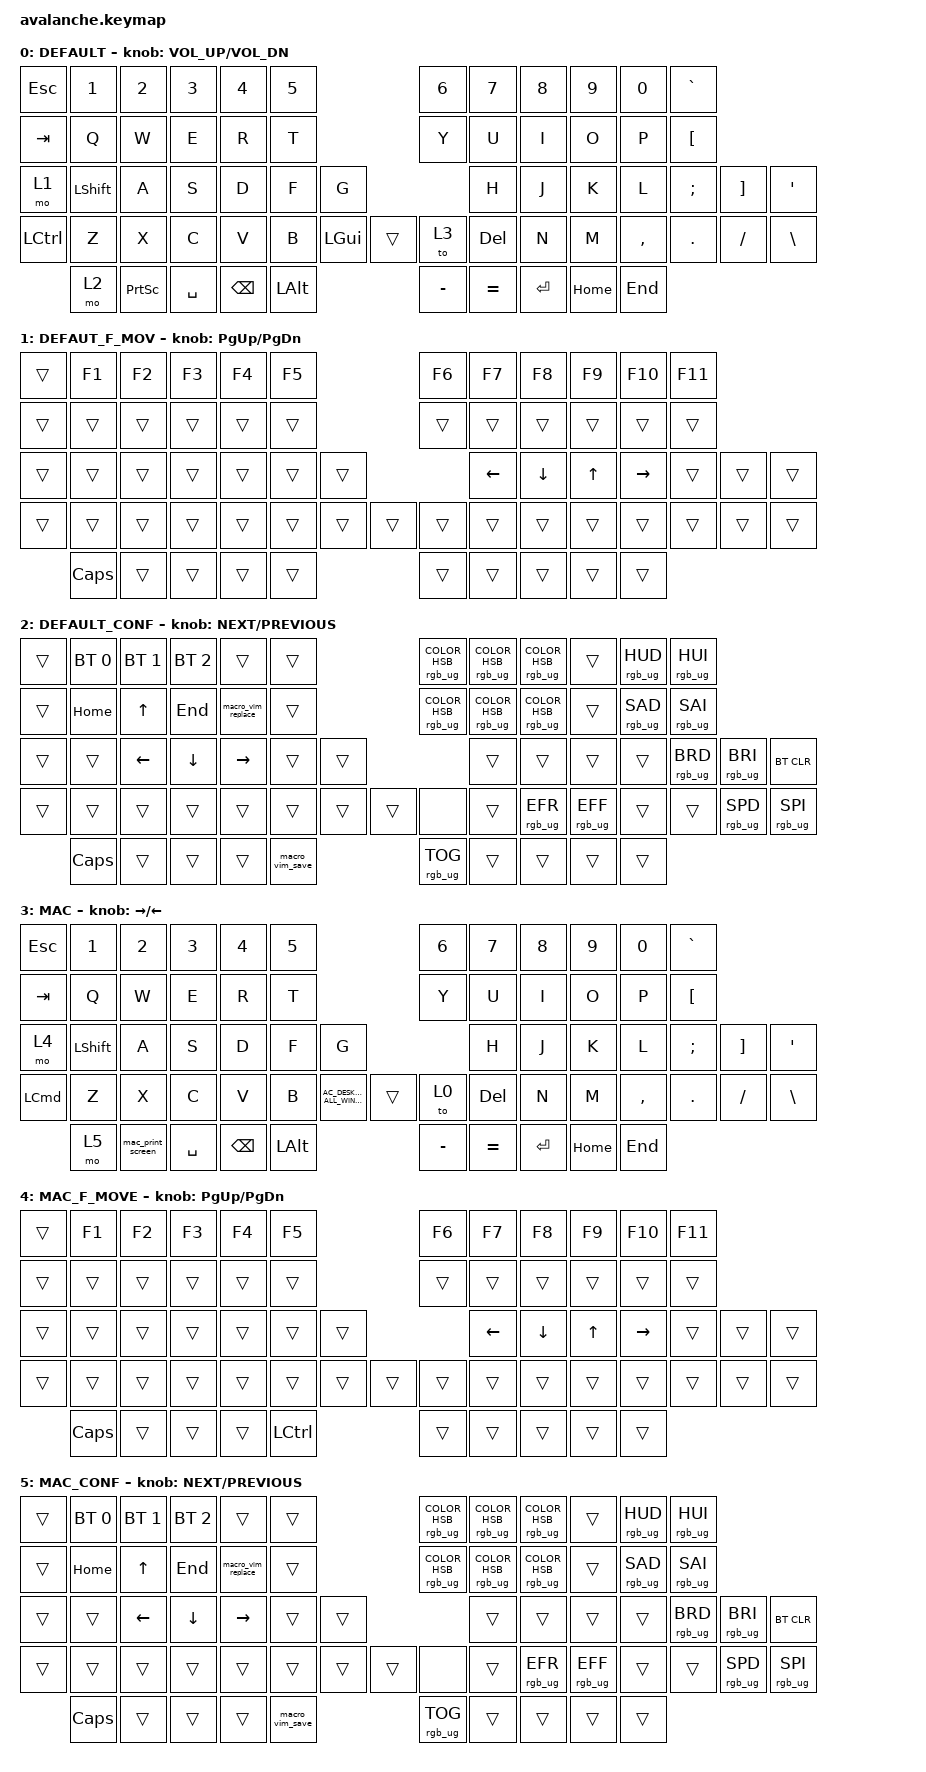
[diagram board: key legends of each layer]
#include <behaviors.dtsi>
#include <dt-bindings/zmk/bt.h>
#include <dt-bindings/zmk/keys.h>
#include <dt-bindings/zmk/rgb.h>

&lt {
    tapping-term-ms = <400>;
    quick-tap-ms = <100>;
};

/ {
    behaviors {
        bhm: balanced_homerow_mods {
            compatible = "zmk,behavior-hold-tap";
            #binding-cells = <2>;
            tapping-term-ms = <200>;

            // <---[[moderate duration]]

            quick-tap-ms = <0>;
            flavor = "balanced";
            bindings = <&kp>, <&kp>;
        };

        hm: homerow_mods {
            compatible = "zmk,behavior-hold-tap";
            #binding-cells = <2>;
            tapping-term-ms = <250>;
            flavor = "tap-preferred";
            bindings = <&kp>, <&kp>;
        };
    };

    macros {
        macro_vim_save: vim_save {
            compatible = "zmk,behavior-macro";
            #binding-cells = <0>;
            wait-ms = <0>;
            tap-ms = <5>;
            bindings = <&kp ESCAPE &kp COLON &kp W &kp ENTER>;
            label = "VIM_SAVE";
        };

        macro_previous_folder: macro_previous_folder {
            compatible = "zmk,behavior-macro";
            #binding-cells = <0>;
            wait-ms = <0>;
            tap-ms = <5>;
            bindings = <&kp DOT &kp DOT &kp FSLH>;
            label = "MACRO_PREVIOUS_FOLDER";
        };

        macro_vim_replace: replace {
            compatible = "zmk,behavior-macro";
            #binding-cells = <0>;
            bindings = <&kp ESC &kp COLON &kp PERCENT &kp S &kp SLASH>;
            label = "REPLACE";
        };

        macro_paste: paste {
            compatible = "zmk,behavior-macro";
            #binding-cells = <0>;
            bindings = <&kp LEFT_GUI &kp V>;
            label = "PASTE";
        };

        mac_print_screen: mac_print_screen {
            compatible = "zmk,behavior-macro";
            #binding-cells = <0>;
            bindings = <&kp LEFT_COMMAND &kp LEFT_SHIFT &kp NUMBER_5>;
            label = "MAC_PRINT_SCREEN";
        };
    };

    keymap {
        compatible = "zmk,keymap";

        DEFAULT {
            // ---------------------------------------------------------------------------------------------------------------------------------------------
            //            |  `  |  1  |  2  |  3  |  4  |  5  |                                             |  6  |  7  |  8  |  9  |  0  |  '  |
            //            | TAB |  Q  |  W  |  E  |  R  |  T  |                                             |  Y  |  U  |  I  |  O  |  P  |  [  | 
            //    |  ESC  |CTRL |  A  |  S  |  D  |  F  |  G  |                                             |  H  |  J  |  K  |  L  |  ;  |  '  |  \   |
            //            |SHIFT|  Z  |  X  |  C  |  V  |  B  |  DEL  |                              | BSPC |  N  |  M  |  ,  |  .  |  /  |  -  |
            //                        | GUI | ALT |SPACE|RAISE| ENTER |                              | ENTER|  =  |SPACE|MO(1)|MO(2)|
            // ---------------------------------------------------------------------------------------------------------------------------------------------

            bindings = <
&kp ESC    &kp N1     &kp N2           &kp N3     &kp N4         &kp N5                          &kp N6     &kp N7      &kp N8   &kp N9    &kp N0     &kp GRAVE
&kp TAB    &kp Q      &kp W            &kp E      &kp R          &kp T                           &kp Y      &kp U       &kp I    &kp O     &kp P      &kp LBKT
&mo 1      &kp LSHFT  &kp A            &kp S      &kp D          &kp F         &kp G                        &kp H       &kp J    &kp K     &kp L      &kp SEMICOLON  &kp RBKT  &kp APOS
&kp LCTRL  &kp Z      &kp X            &kp C      &kp V          &kp B         &kp LGUI  &trans  &to 3      &kp DELETE  &kp N    &kp M     &kp COMMA  &kp PERIOD     &kp FSLH  &kp BSLH
           &mo 2      &kp PRINTSCREEN  &kp SPACE  &kp BACKSPACE  &kp LEFT_ALT                    &kp MINUS  &kp EQUAL   &kp RET  &kp HOME  &kp END
            >;

            sensor-bindings = <&inc_dec_kp C_VOL_UP C_VOL_DN>;
        };

        DEFAUT_F_MOV {
            // ---------------------------------------------------------------------------------------------------------------------------------------------
            //            |     |     |     |     |     |     |                                          |     |     |     |     |     |     |
            //            |     | HOME|  UP | END |     |     |                                          |     |HOME |     |END  |     |     |
            //       |    |     | LEFT| DOWN|RIGHT|     |     |                                          |SCLUP|LEFT |  UP |  A  |PG_UP|     |    |
            //            |     |     |     |     |     |     |     |                              |     |SCLDN|LEFT | DOWN|RIGHT|PG_DN|     |
            //                        |     |     |     |     |     |                              |     |     |     |     |     |
            // ---------------------------------------------------------------------------------------------------------------------------------------------

            bindings = <
&trans  &kp F1        &kp F2  &kp F3  &kp F4  &kp F5                  &kp F6  &kp F7    &kp F8          &kp F9        &kp F10          &kp F11
&trans  &trans        &trans  &trans  &trans  &trans                  &trans  &trans    &trans          &trans        &trans           &trans
&trans  &trans        &trans  &trans  &trans  &trans  &trans                  &kp LEFT  &kp DOWN_ARROW  &kp UP_ARROW  &kp RIGHT_ARROW  &trans   &trans  &trans
&trans  &trans        &trans  &trans  &trans  &trans  &trans  &trans  &trans  &trans    &trans          &trans        &trans           &trans   &trans  &trans
        &kp CAPSLOCK  &trans  &trans  &trans  &trans                  &trans  &trans    &trans          &trans        &trans
            >;

            sensor-bindings = <&inc_dec_kp PAGE_UP PAGE_DOWN>;
        };

        DEFAULT_CONF {
            bindings = <
&trans  &bt BT_SEL 0  &bt BT_SEL 1    &bt BT_SEL 2    &trans              &trans                           &rgb_ug RGB_COLOR_HSB(308,100,50)  &rgb_ug RGB_COLOR_HSB(334,100,50)  &rgb_ug RGB_COLOR_HSB(121,100,48)  &trans           &rgb_ug RGB_HUD  &rgb_ug RGB_HUI
&trans  &kp HOME      &kp UP_ARROW    &kp END         &macro_vim_replace  &trans                           &rgb_ug RGB_COLOR_HSB(0,100,50)    &rgb_ug RGB_COLOR_HSB(182,100,50)  &rgb_ug RGB_COLOR_HSB(251,100,49)  &trans           &rgb_ug RGB_SAD  &rgb_ug RGB_SAI
&trans  &trans        &kp LEFT_ARROW  &kp DOWN_ARROW  &kp RIGHT           &trans           &trans                                             &trans                             &trans                             &trans           &trans           &rgb_ug RGB_BRD  &rgb_ug RGB_BRI  &bt BT_CLR
&trans  &trans        &trans          &trans          &trans              &trans           &trans  &trans  &none                              &trans                             &rgb_ug RGB_EFR                    &rgb_ug RGB_EFF  &trans           &trans           &rgb_ug RGB_SPD  &rgb_ug RGB_SPI
        &kp CAPSLOCK  &trans          &trans          &trans              &macro_vim_save                  &rgb_ug RGB_TOG                    &trans                             &trans                             &trans           &trans
            >;

            sensor-bindings = <&inc_dec_kp C_NEXT C_PREVIOUS>;
        };

        MAC {
            bindings = <
&kp ESC           &kp NUMBER_1    &kp NUMBER_2       &kp NUMBER_3  &kp NUMBER_4   &kp NUMBER_5                                             &kp NUMBER_6  &kp NUMBER_7  &kp NUMBER_8  &kp NUMBER_9  &kp NUMBER_0  &kp GRAVE
&kp TAB           &kp Q           &kp W              &kp E         &kp R          &kp T                                                    &kp Y         &kp U         &kp I         &kp O         &kp P         &kp LEFT_BRACKET
&mo 4             &kp LEFT_SHIFT  &kp A              &kp S         &kp D          &kp F         &kp G                                                    &kp H         &kp J         &kp K         &kp L         &kp SEMICOLON     &kp RBKT   &kp SQT
&kp LEFT_COMMAND  &kp Z           &kp X              &kp C         &kp V          &kp B         &kp C_AC_DESKTOP_SHOW_ALL_WINDOWS  &trans  &to 0         &kp DELETE    &kp N         &kp M         &kp COMMA     &kp PERIOD        &kp SLASH  &kp BSLH
                  &mo 5           &mac_print_screen  &kp SPACE     &kp BACKSPACE  &kp LEFT_ALT                                             &kp MINUS     &kp EQUAL     &kp ENTER     &kp HOME      &kp END
            >;

            sensor-bindings = <&inc_dec_kp RIGHT LEFT>;
        };

        MAC_F_MOVE {
            bindings = <
&trans  &kp F1        &kp F2  &kp F3  &kp F4  &kp F5                            &kp F6  &kp F7    &kp F8          &kp F9        &kp F10          &kp F11
&trans  &trans        &trans  &trans  &trans  &trans                            &trans  &trans    &trans          &trans        &trans           &trans
&trans  &trans        &trans  &trans  &trans  &trans            &trans                  &kp LEFT  &kp DOWN_ARROW  &kp UP_ARROW  &kp RIGHT_ARROW  &trans   &trans  &trans
&trans  &trans        &trans  &trans  &trans  &trans            &trans  &trans  &trans  &trans    &trans          &trans        &trans           &trans   &trans  &trans
        &kp CAPSLOCK  &trans  &trans  &trans  &kp LEFT_CONTROL                  &trans  &trans    &trans          &trans        &trans
            >;

            sensor-bindings = <&inc_dec_kp PAGE_UP PAGE_DOWN>;
        };

        MAC_CONF {
            bindings = <
&trans  &bt BT_SEL 0  &bt BT_SEL 1    &bt BT_SEL 2    &trans              &trans                           &rgb_ug RGB_COLOR_HSB(308,100,50)  &rgb_ug RGB_COLOR_HSB(334,100,50)  &rgb_ug RGB_COLOR_HSB(121,100,48)  &trans           &rgb_ug RGB_HUD  &rgb_ug RGB_HUI
&trans  &kp HOME      &kp UP_ARROW    &kp END         &macro_vim_replace  &trans                           &rgb_ug RGB_COLOR_HSB(0,100,50)    &rgb_ug RGB_COLOR_HSB(182,100,50)  &rgb_ug RGB_COLOR_HSB(251,100,49)  &trans           &rgb_ug RGB_SAD  &rgb_ug RGB_SAI
&trans  &trans        &kp LEFT_ARROW  &kp DOWN_ARROW  &kp RIGHT           &trans           &trans                                             &trans                             &trans                             &trans           &trans           &rgb_ug RGB_BRD  &rgb_ug RGB_BRI  &bt BT_CLR
&trans  &trans        &trans          &trans          &trans              &trans           &trans  &trans  &none                              &trans                             &rgb_ug RGB_EFR                    &rgb_ug RGB_EFF  &trans           &trans           &rgb_ug RGB_SPD  &rgb_ug RGB_SPI
        &kp CAPSLOCK  &trans          &trans          &trans              &macro_vim_save                  &rgb_ug RGB_TOG                    &trans                             &trans                             &trans           &trans
            >;

            sensor-bindings = <&inc_dec_kp C_NEXT C_PREVIOUS>;
        };
    };
};
